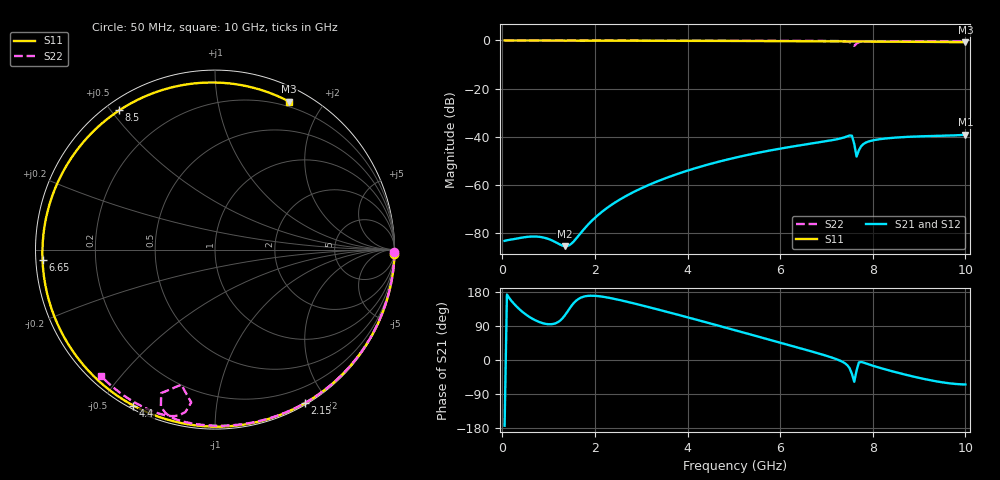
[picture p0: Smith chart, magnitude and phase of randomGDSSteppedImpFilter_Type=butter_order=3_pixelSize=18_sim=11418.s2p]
! freq	dB(S11)	phase(S11)	dB(S12)	phase(S12)
!  dB(S21)	phase(S21)	dB(S22)	phase(S22)
!S-par simulation data
#  GHz  S  DB  R 50
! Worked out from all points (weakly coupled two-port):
!   200 points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, 50 MHz to 10 GHz, reference 50 ohm
!   highest |S21| = -39.16 dB at 10 GHz (marker M1); lowest = -85.4 dB at 1.35 GHz (marker M2)
!   lowest |S11| = -0.7 dB at 10 GHz (marker M3), VSWR 24.73, Z = 7.28 + j80.4 ohm
!   |S11| at or under -10 dB: nowhere
!   |S22| runs from -2.2 to 0.0 dB; largest |S21 - S12| = 0
!   S11 on the Smith chart (normalised r, x): 50 MHz: 0, -80; 2.15 GHz: 0.02, -1.74; 4.4 GHz: 0.01, -0.61; 6.65 GHz: 0.02, -0.03; 8.5 GHz: 0.04, +0.53; 10 GHz: 0.15, +1.61
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0.05  -0.00 -1.4  -83.19 -173.4  -83.19 -173.4  -0.00 -0.8
1.35  -0.05 -37.9  -85.39 117.6  -85.39 117.6  -0.03 -20.4
1.65  -0.06 -46.2  -80.96 161.5  -80.96 161.5  -0.03 -24.9
1.75  -0.06 -48.9  -78.64 166.9  -78.64 166.9  -0.03 -26.4
2.15  -0.08 -59.6  -71.16 167.4  -71.16 167.4  -0.04 -32.3
2.7  -0.09 -74.2  -64.27 153.5  -64.27 153.5  -0.05 -40.3
3.4  -0.12 -92.3  -58.10 132.0  -58.10 132.0  -0.07 -50.3
4.4  -0.17 -117.6  -51.73 99.5  -51.73 99.5  -0.09 -64.1
5.05  -0.20 -134.1  -48.56 77.8  -48.56 77.8  -0.11 -72.8
5.9  -0.26 -156.0  -45.25 49.1  -45.25 49.1  -0.14 -84.0
6.65  -0.33 -176.4  -42.86 23.6  -42.86 23.6  -0.18 -93.7
6.7  -0.33 -177.8  -42.71 21.9  -42.71 21.9  -0.18 -94.3
7.35  -0.40 163.0  -40.44 -5.0  -40.44 -5.0  -0.30 -104.3
7.55  -0.42 156.8  -39.54 -36.7  -39.54 -36.7  -1.37 -110.6
7.6  -0.43 155.2  -43.00 -57.4  -43.00 -57.4  -2.21 -104.0
7.65  -0.43 153.6  -48.21 -27.8  -48.21 -27.8  -1.29 -98.8
7.75  -0.44 150.4  -43.87 -5.2  -43.87 -5.2  -0.50 -102.1
7.85  -0.45 147.1  -42.39 -8.9  -42.39 -8.9  -0.36 -104.7
8.35  -0.51 129.9  -40.55 -27.5  -40.55 -27.5  -0.31 -112.3
8.5  -0.52 124.5  -40.31 -32.4  -40.31 -32.4  -0.32 -114.3
9.3  -0.61 93.4  -39.65 -54.7  -39.65 -54.7  -0.38 -123.9
10  -0.70 63.5  -39.16 -64.5  -39.16 -64.5  -0.46 -132.1
